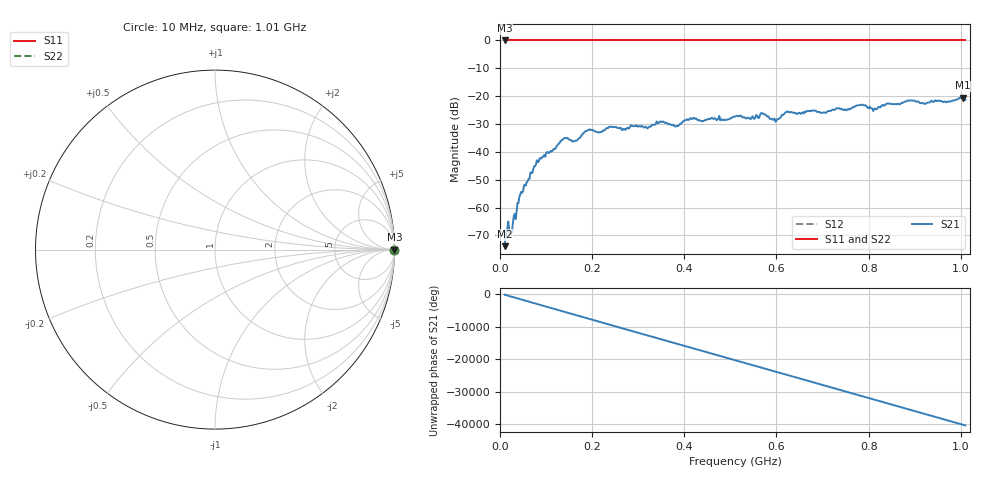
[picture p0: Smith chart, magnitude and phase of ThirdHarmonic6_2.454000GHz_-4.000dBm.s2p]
! 8/17/2025 4:24:09 AM
! C:\ANRITSUVNA\TEMP\TEMP.S2P
! CHANNEL.1
! TR.MEASUREMENT
! RAW.DATA
! RF.CORRECTION.OFF
! AVERAGING.OFF
! IF.BANDWIDTH: 5KHZ
! SWEEPTYPE:  FREQ.SWEEP(Linear)
! Reference Plane Port Info
! PORT:  PORT1  PORT2
! DISTANCE:  0  m  0  m
! TIME:  0  s  0  s
! PHASE.OFFSET:  0  deg.  0  deg.
! LOSS:  0  dB  0  dB
! REF.LOSS:  0  dB  0  dB
! REF.FREQ:  0  Hz  0  Hz
! Power Info
! POWER:  -20  dBm  -20  dBm
! EFF.POWER:  -20  dBm  -20  dBm
! SOURCE.ATTEN:  0  dB  0  dB
! TEST.ATTEN:  0  dB  0  dB
# GHZ S RI R 50.0
! FREQ.GHZ  S11RE  S11IM  S21RE  S21IM  S12RE  S12IM  S22RE  S22IM
!; PortSelection: Port_12
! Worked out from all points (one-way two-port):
!   501 points, 10 MHz to 1.01 GHz, reference 50 ohm
!   highest |S21| = -20.53 dB at 1.004 GHz (marker M1); lowest = -73.9 dB at 10 MHz (marker M2)
!   lowest |S11| = 0.0 dB at 10 MHz (marker M3)
!   |S11| at or under -10 dB: nowhere
!   |S22| runs from 0.0 to 0.0 dB; largest |S21 - S12| = 1.1
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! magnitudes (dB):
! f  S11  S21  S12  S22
! 10 MHz  0.0  -73.9  0.0  0.0
! 16 MHz  0.0  -67.6  0.0  0.0
! 24 MHz  0.0  -69.7  0.0  0.0
! 48 MHz  0.0  -54.7  0.0  0.0
! 84 MHz  0.0  -43.4  0.0  0.0
! 138 MHz  0.0  -35.3  0.0  0.0
! 162 MHz  0.0  -36.1  0.0  0.0
! 178 MHz  0.0  -33.8  0.0  0.0
! 194 MHz  0.0  -31.9  0.0  0.0
! 344 MHz  0.0  -29.7  0.0  0.0
! 382 MHz  0.0  -30.8  0.0  0.0
! 416 MHz  0.0  -28.2  0.0  0.0
! 510 MHz  0.0  -27.3  0.0  0.0
! 570 MHz  0.0  -26.2  0.0  0.0
! 596 MHz  0.0  -28.1  0.0  0.0
! 622 MHz  0.0  -25.5  0.0  0.0
! 678 MHz  0.0  -25.1  0.0  0.0
! 784 MHz  0.0  -23.1  0.0  0.0
! 814 MHz  0.0  -24.5  0.0  0.0
! 844 MHz  0.0  -22.7  0.0  0.0
! 1.004 GHz  0.0  -20.5  0.0  0.0
! 1.01 GHz  0.0  -21.3  0.0  0.0
